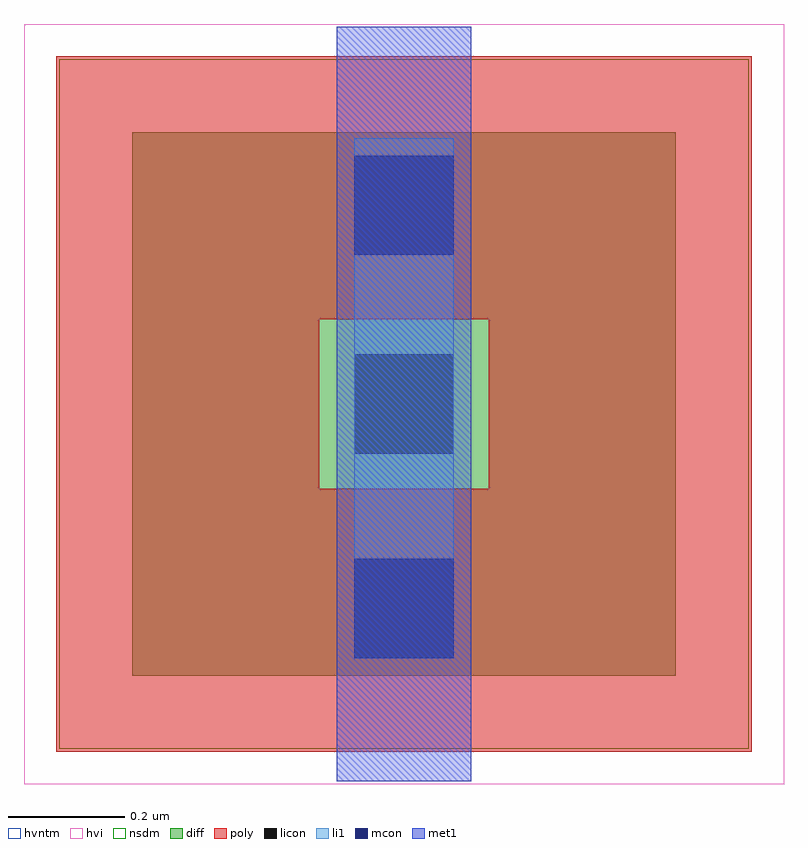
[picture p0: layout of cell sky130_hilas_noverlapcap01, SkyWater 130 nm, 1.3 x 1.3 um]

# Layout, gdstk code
import gdstk
lib = gdstk.Library(unit=1e-6, precision=1e-09)
def R(c, l, rs):  # rectangles x0, y0, x1, y1
    for r in rs: c.add(gdstk.rectangle(r[:2], r[2:], *l))
diff = (65, 20)
poly = (66, 20)
licon = (66, 44)
li1 = (67, 20)
mcon = (67, 44)
met1 = (68, 20)
hvi = (75, 20)
nsdm = (93, 44)
hvntm = (125, 20)

sky130_hilas_noverlapcap = lib.new_cell('sky130_hilas_noverlapcap01')
R(sky130_hilas_noverlapcap, diff, [(-0.44,-0.25,0.49,0.68)])
R(sky130_hilas_noverlapcap, poly, [(-0.57,-0.38,0.62,0.07), (-0.57,0.07,-0.12,0.36), (0.17,0.07,0.62,0.36), (-0.57,0.36,0.62,0.81)])
R(sky130_hilas_noverlapcap, licon, [(-0.06,0.13,0.11,0.3)])
R(sky130_hilas_noverlapcap, li1, [(-0.06,-0.22,0.11,0.67)])
R(sky130_hilas_noverlapcap, mcon, [(-0.06,-0.22,0.11,-0.05), (-0.06,0.47,0.11,0.64)])
R(sky130_hilas_noverlapcap, met1, [(-0.09,-0.43,0.14,0.86)])
R(sky130_hilas_noverlapcap, hvi, [(-0.625,-0.435,0.675,0.865)])
R(sky130_hilas_noverlapcap, nsdm, [(-0.565,-0.375,0.615,0.805)])
R(sky130_hilas_noverlapcap, hvntm, [(-0.625,-0.435,0.675,0.865)])

lib.write_gds('sky130_hilas_noverlapcap01.gds')
